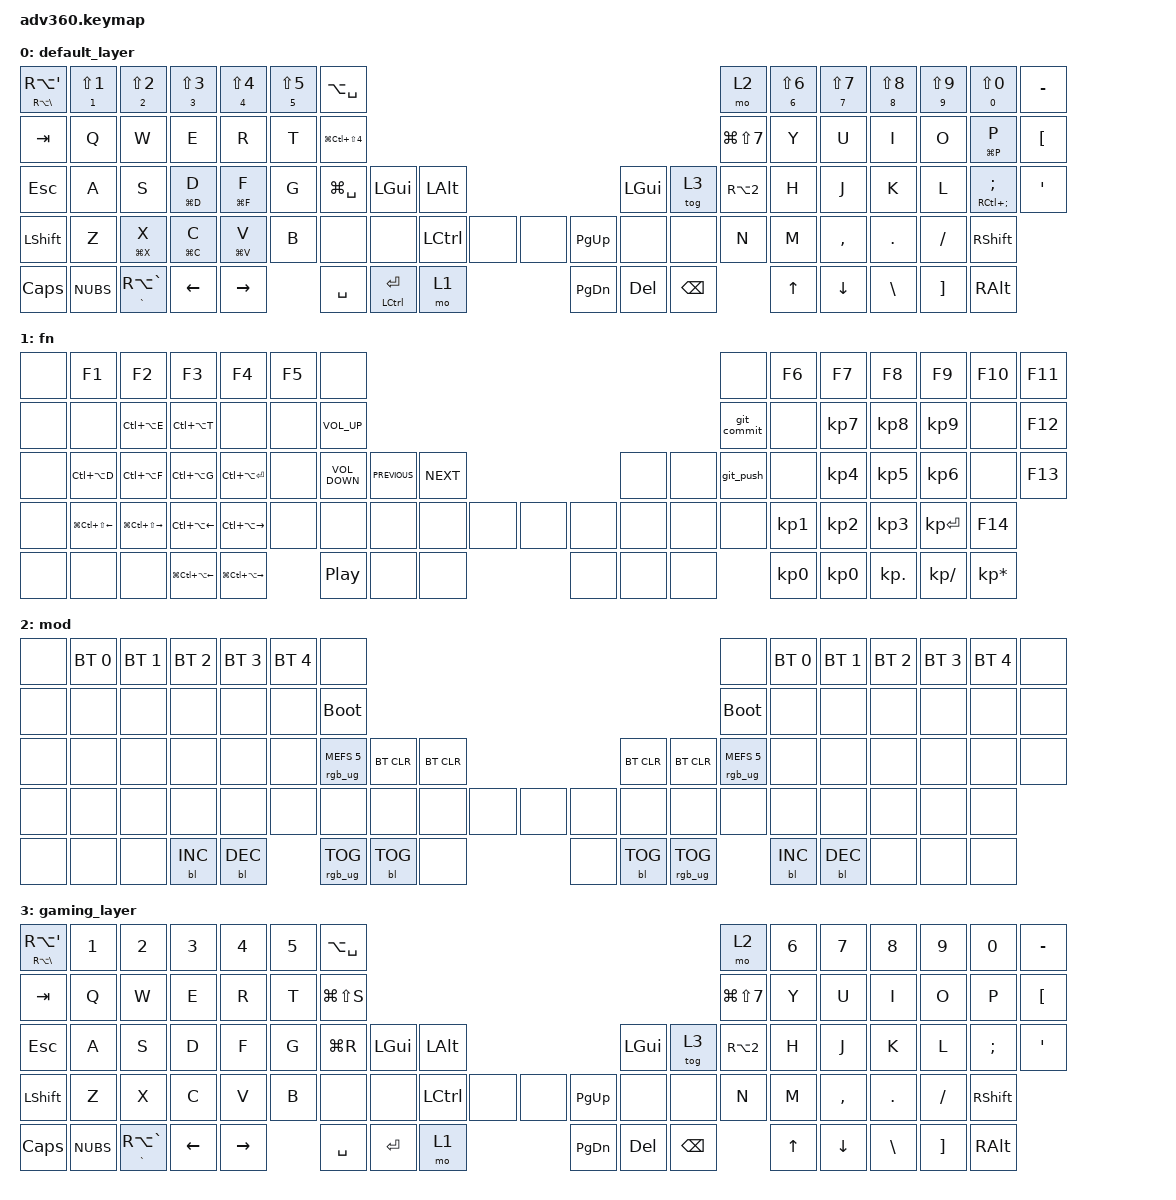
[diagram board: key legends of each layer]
#include <behaviors.dtsi>
#include <dt-bindings/zmk/keys.h>
#include <dt-bindings/zmk/bt.h>
#include <dt-bindings/zmk/rgb.h>
#include <dt-bindings/zmk/backlight.h>

/ {
    behaviors {
      #include "macros.dtsi"

      hm: homerow_mods {
          compatible = "zmk,behavior-hold-tap";
          label = "HOMEROW_MODS";
          #binding-cells = <2>;
          tapping-term-ms = <300>;
          quick_tap_ms = <175>;
          flavor = "tap-preferred";
          bindings = <&kp>, <&kp>;
      };
      gqt: global-quick-tap {
        compatible = "zmk,behavior-hold-tap";
        label = "GLOBAL_QUICK_TAP";
        #binding-cells = <2>;
        flavor = "tap-preferred";
        tapping-term-ms = <200>;
        quick-tap-ms = <125>;
        global-quick-tap;
        bindings = <&kp>, <&kp>;
};
    };

  keymap {
    compatible = "zmk,keymap";                

    default_layer {
      bindings = <
        &hm RA(BSLH) RA(SQT)     &hm N1 LS(N1)    &hm N2 LS(N2)            &hm N3 LS(N3)   &hm N4 LS(N4)     &hm N5 LS(N5)   &kp LA(SPACE)                                                                                                                                                   &mo 2                 &hm N6 LS(N6)     &hm N7 LS(N7)   &hm N8 LS(N8) &hm N9 LS(N9)   &hm N0 LS(N0)         &kp MINUS
        &kp TAB                  &kp Q            &kp W                    &kp E           &kp R             &kp T           &kp LG(LC(LS(N4)))                                                                                                                                              &kp LG(LS(N7))        &kp Y             &kp U           &kp I         &kp O           &hm LG(P) P           &kp LBKT 
        &kp ESC                  &kp A            &kp S                    &hm LG(D) D     &hm LG(F) F       &kp G           &kp LG(SPACE)                 &kp LGUI        &kp LALT                                              &kp LGUI        &tog 3                                      &kp RA(N2)            &kp H             &kp J           &kp K         &kp L           &hm RC(SEMI) SEMI     &kp SQT
        &kp LSHFT                &kp Z            &hm LG(X) X              &hm LG(C) C     &hm LG(V) V       &kp B                                         &none           &none             &kp LCTRL      &none &none          &kp PG_UP       &none         &none                         &kp N                 &kp M             &kp COMMA       &kp DOT       &kp FSLH        &kp RSHFT
        &kp CAPS                 &kp NUBS         &hm GRAVE RA(GRAVE)      &kp LEFT        &kp RIGHT                                                       &kp SPACE       &hm LCTRL ENTER   &mo 1                               &kp PG_DN       &kp DEL       &kp BSPC                                            &kp UP            &kp DOWN        &kp BSLH      &kp RBKT        &kp RALT
      >;
    };
    fn {
      bindings = <             
        &none       &kp F1                 &kp F2                 &kp F3                 &kp F4                   &kp F5          &none                                                                                                                                                                              &none             &kp F6          &kp F7           &kp F8           &kp F9             &kp F10             &kp F11 
        &none       &none                  &kp LC(LA(E))          &kp LC(LA(T))          &none                    &none           &kp C_VOLUME_UP                                                                                                                                                                    &git_commit       &none           &kp KP_N7        &kp KP_N8        &kp KP_N9          &none               &kp F12
        &none       &kp LC(LA(D))          &kp LC(LA(F))          &kp LC(LA(G))          &kp LC(LA(ENTER))        &none           &kp C_VOLUME_DOWN         &kp C_PREVIOUS      &kp C_NEXT                                                                        &none     &none                                    &git_push         &none           &kp KP_N4        &kp KP_N5        &kp KP_N6          &none               &kp F13 
        &none       &kp LG(LC(LS(LEFT)))   &kp LG(LC(LS(RIGHT)))  &kp LC(LA(LEFT))       &kp LC(LA(RIGHT))        &none                                     &none               &none          &none                  &none   &none                               &none     &none      &none                                           &none           &kp KP_N1        &kp KP_N2        &kp KP_N3          &kp KP_ENTER        &kp F14
        &none       &none                  &none                  &kp LG(LC(LA(LEFT)))   &kp LG(LC(LA(RIGHT)))                                              &kp C_PLAY_PAUSE    &none          &none                                                              &none     &none      &none                                           &kp KP_N0       &kp KP_N0        &kp KP_DOT       &kp KP_DIVIDE      &kp KP_MULTIPLY
      >;
    };
    mod {
      bindings = <
        &none &bt BT_SEL 0 &bt BT_SEL 1   &bt BT_SEL 2   &bt BT_SEL 3   &bt BT_SEL 4    &none                                                                                                                                                            &none                       &bt BT_SEL 0       &bt BT_SEL 1      &bt BT_SEL 2       &bt BT_SEL 3      &bt BT_SEL 4        &none
        &none &none        &none          &none          &none          &none           &bootloader                                                                                                                                                      &bootloader                 &none              &none             &none              &none             &none               &none
        &none &none        &none          &none          &none          &none           &rgb_ug RGB_MEFS_CMD 5                 &bt BT_CLR       &bt BT_CLR                                         &bt BT_CLR  &bt BT_CLR                                &rgb_ug RGB_MEFS_CMD 5      &none              &none             &none              &none             &none               &none
        &none &none        &none          &none          &none          &none                                                  &none            &none      &none             &none &none           &none       &none        &none                                                    &none              &none             &none              &none             &none               &none
        &none &none        &none          &bl BL_INC     &bl BL_DEC                                                            &rgb_ug RGB_TOG  &bl BL_TOG &none                                   &none       &bl BL_TOG   &rgb_ug RGB_TOG                                                             &bl BL_INC        &bl BL_DEC         &none             &none               &none
      >;
    };
    gaming_layer {
      bindings = <
        &hm RA(BSLH) RA(SQT)     &kp N1           &kp N2                      &kp N3          &kp N4            &kp N5          &kp LA(SPACE)                                                                                                                                                   &mo 2                 &kp N6            &kp N7          &kp N8        &kp N9          &kp N0          &kp MINUS
        &kp TAB                  &kp Q            &kp W                       &kp E           &kp R             &kp T           &kp LG(LS(S))                                                                                                                                                   &kp LG(LS(N7))        &kp Y             &kp U           &kp I         &kp O           &kp P           &kp LBKT 
        &kp ESC                  &kp A            &kp S                       &kp D           &kp F             &kp G           &kp LG(R)                     &kp LGUI        &kp LALT                                              &kp LGUI        &tog 3                                      &kp RA(N2)            &kp H             &kp J           &kp K         &kp L           &kp SEMI        &kp SQT
        &kp LSHFT                &kp Z            &kp X                       &kp C           &kp V             &kp B                                         &none           &none             &kp LCTRL      &none &none          &kp PG_UP       &none         &none                         &kp N                 &kp M             &kp COMMA       &kp DOT       &kp FSLH        &kp RSHFT
        &kp CAPS                 &kp NUBS         &hm GRAVE RA(GRAVE)         &kp LEFT        &kp RIGHT                                                       &kp SPACE       &kp ENTER         &mo 1                               &kp PG_DN       &kp DEL       &kp BSPC                                            &kp UP            &kp DOWN        &kp BSLH      &kp RBKT        &kp RALT
         >;
    };
  };
};
